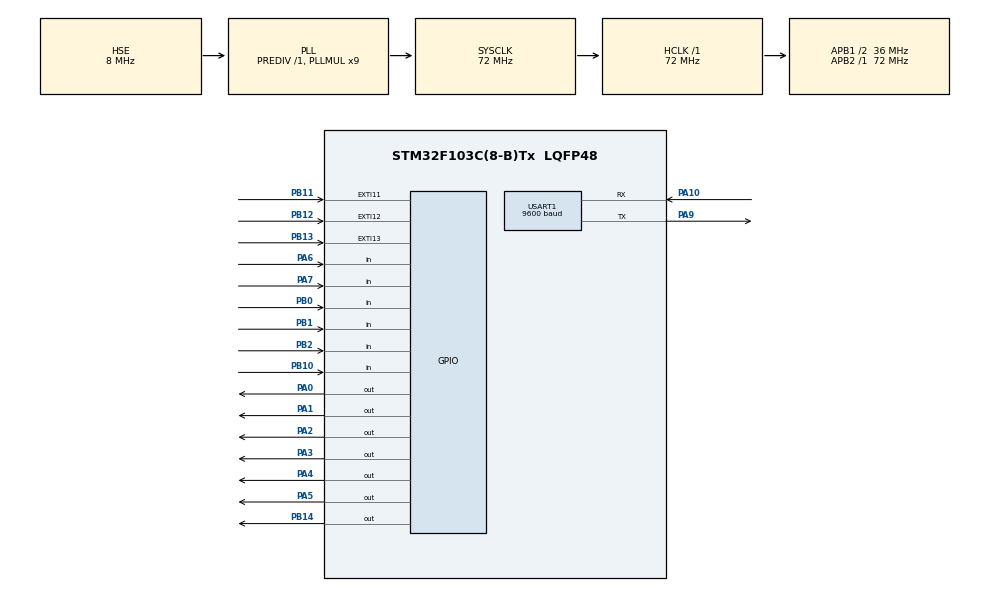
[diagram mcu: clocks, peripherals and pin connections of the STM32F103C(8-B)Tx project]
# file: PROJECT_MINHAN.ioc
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FREERTOS.Tasks01=startMainSystem,0,128,StartMainSystem,Default,NULL,Dynamic,NULL,NULL;startUART_RX,-2,128,StartUART_RX,Default,NULL,Dynamic,NULL,NULL;startUART_TX,-2,128,StartUART_TX,Default,NULL,Dynamic,NULL,NULL;startGRAB,-2,128,StartGRAB,Default,NULL,Dynamic,NULL,NULL
Mcu.Family=STM32F1
Mcu.Name=STM32F103C(8-B)Tx
Mcu.Package=LQFP48
NVIC.EXTI15_10_IRQn=true\:5\:0\:false\:false\:true\:false\:true\:true\:true
NVIC.PriorityGroup=NVIC_PRIORITYGROUP_4
NVIC.TIM1_BRK_IRQn=true\:5\:0\:false\:false\:true\:true\:true\:true\:true
NVIC.TIM2_IRQn=true\:5\:0\:false\:false\:true\:true\:true\:true\:true
NVIC.TIM3_IRQn=true\:5\:0\:false\:false\:true\:true\:true\:true\:true
NVIC.TIM4_IRQn=true\:5\:0\:false\:false\:true\:true\:true\:true\:true
NVIC.USART1_IRQn=true\:5\:0\:false\:false\:true\:true\:true\:true\:true
PA0-WKUP.Signal=GPIO_Output
PA1.Signal=GPIO_Output
PA10.Mode=Asynchronous
PA10.Signal=USART1_RX
PA13.Mode=Serial_Wire
PA13.Signal=SYS_JTMS-SWDIO
PA14.Mode=Serial_Wire
PA14.Signal=SYS_JTCK-SWCLK
PA2.Signal=GPIO_Output
PA3.Signal=GPIO_Output
PA4.Signal=GPIO_Output
PA5.Signal=GPIO_Output
PA6.GPIO_PuPd=GPIO_PULLUP
PA6.Signal=GPIO_Input
PA7.GPIO_PuPd=GPIO_PULLUP
PA7.Signal=GPIO_Input
PA9.Mode=Asynchronous
PA9.Signal=USART1_TX
PB0.GPIO_PuPd=GPIO_PULLUP
PB0.Signal=GPIO_Input
PB1.GPIO_PuPd=GPIO_PULLUP
PB1.Signal=GPIO_Input
PB10.GPIO_PuPd=GPIO_PULLUP
PB10.Signal=GPIO_Input
PB11.GPIO_ModeDefaultEXTI=GPIO_MODE_IT_RISING_FALLING
PB11.GPIO_PuPd=GPIO_PULLUP
PB11.Signal=GPXTI11
PB12.GPIO_ModeDefaultEXTI=GPIO_MODE_IT_RISING_FALLING
PB12.GPIO_PuPd=GPIO_PULLUP
PB12.Signal=GPXTI12
PB13.GPIO_ModeDefaultEXTI=GPIO_MODE_IT_RISING_FALLING
PB13.GPIO_PuPd=GPIO_PULLUP
PB13.Signal=GPXTI13
PB14.Signal=GPIO_Output
PB2.GPIO_PuPd=GPIO_PULLUP
PB2.Signal=GPIO_Input
PD0-OSC_IN.Mode=HSE-External-Oscillator
PD0-OSC_IN.Signal=RCC_OSC_IN
PD1-OSC_OUT.Mode=HSE-External-Oscillator
PD1-OSC_OUT.Signal=RCC_OSC_OUT
ProjectManager.HeapSize=0x200
ProjectManager.StackSize=0x400
ProjectManager.TargetToolchain=STM32CubeIDE
RCC.AHBFreq_Value=72000000
RCC.APB1CLKDivider=RCC_HCLK_DIV2
RCC.APB1Freq_Value=36000000
RCC.APB1TimFreq_Value=72000000
RCC.APB2Freq_Value=72000000
RCC.APB2TimFreq_Value=72000000
RCC.HCLKFreq_Value=72000000
RCC.PLLMUL=RCC_PLL_MUL9
RCC.PLLSourceVirtual=RCC_PLLSOURCE_HSE
RCC.SYSCLKFreq_VALUE=72000000
RCC.SYSCLKSource=RCC_SYSCLKSOURCE_PLLCLK
RCC.USBFreq_Value=72000000
TIM1.Period=999
TIM1.Prescaler=71
TIM2.AutoReloadPreload=TIM_AUTORELOAD_PRELOAD_ENABLE
TIM2.Period=999
TIM2.Prescaler=35
TIM3.AutoReloadPreload=TIM_AUTORELOAD_PRELOAD_ENABLE
TIM3.Period=999
TIM3.Prescaler=35
TIM4.AutoReloadPreload=TIM_AUTORELOAD_PRELOAD_ENABLE
TIM4.Period=999
TIM4.Prescaler=35
USART1.BaudRate=9600
USART1.VirtualMode=VM_ASYNC
VP_FREERTOS_VS_CMSIS_V1.Mode=CMSIS_V1
VP_TIM1_VS_ClockSourceINT.Mode=Internal
VP_TIM2_VS_ClockSourceINT.Mode=Internal
VP_TIM3_VS_ClockSourceINT.Mode=Internal
VP_TIM4_VS_ClockSourceINT.Mode=Internal
board=custom

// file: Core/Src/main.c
/* USER CODE BEGIN Header */
/**
  ******************************************************************************
  * @file           : main.c
  * @brief          : Main program body
  ******************************************************************************
  * @attention
  *
  * Copyright (c) 2024 STMicroelectronics.
  * All rights reserved.
  *
  * This software is licensed under terms that can be found in the LICENSE file
  * in the root directory of this software component.
  * If no LICENSE file comes with this software, it is provided AS-IS.
  *
  ******************************************************************************
  */
/* USER CODE END Header */
#include "main.h"
#include "cmsis_os.h"

void SystemClock_Config(void);
void MX_FREERTOS_Unit(void);

int main(void)
{

  /* MCU Configuration--------------------------------------------------------*/

  /* Reset of all peripherals, Initializes the Flash interface and the Systick. */
  HAL_Init();

  /* Configure the system clock */
  SystemClock_Config();

  /* Initialize all configured peripherals */
  MX_GPIO_Init();
  MX_TIM1_Init();
  MX_TIM2_Init();
  MX_TIM3_Init();
  MX_TIM4_Init();
  MX_USART1_UART_Init();
  /* USER CODE BEGIN 2 */
  MX_FREERTOS_Unit();
  /* USER CODE END 2 */

  /* Start scheduler */
  osKernelStart();

  /* We should never get here as control is now taken by the scheduler */

  /* Infinite loop */
  while (1)
  {

  }
}

void SystemClock_Config(void)
{
  RCC_OscInitTypeDef RCC_OscInitStruct = {0};
  RCC_ClkInitTypeDef RCC_ClkInitStruct = {0};

  /** Initializes the RCC Oscillators according to the specified parameters
  * in the RCC_OscInitTypeDef structure.
  */
  RCC_OscInitStruct.OscillatorType = RCC_OSCILLATORTYPE_HSE;
  RCC_OscInitStruct.HSEState = RCC_HSE_ON;
  RCC_OscInitStruct.HSEPredivValue = RCC_HSE_PREDIV_DIV1;
  RCC_OscInitStruct.HSIState = RCC_HSI_ON;
  RCC_OscInitStruct.PLL.PLLState = RCC_PLL_ON;
  RCC_OscInitStruct.PLL.PLLSource = RCC_PLLSOURCE_HSE;
  RCC_OscInitStruct.PLL.PLLMUL = RCC_PLL_MUL9;
  if (HAL_RCC_OscConfig(&RCC_OscInitStruct) != HAL_OK)
  {
    Error_Handler();
  }

  /** Initializes the CPU, AHB and APB buses clocks
  */
  RCC_ClkInitStruct.ClockType = RCC_CLOCKTYPE_HCLK|RCC_CLOCKTYPE_SYSCLK
                              |RCC_CLOCKTYPE_PCLK1|RCC_CLOCKTYPE_PCLK2;
  RCC_ClkInitStruct.SYSCLKSource = RCC_SYSCLKSOURCE_PLLCLK;
  RCC_ClkInitStruct.AHBCLKDivider = RCC_SYSCLK_DIV1;
  RCC_ClkInitStruct.APB1CLKDivider = RCC_HCLK_DIV2;
  RCC_ClkInitStruct.APB2CLKDivider = RCC_HCLK_DIV1;

  if (HAL_RCC_ClockConfig(&RCC_ClkInitStruct, FLASH_LATENCY_2) != HAL_OK)
  {
    Error_Handler();
  }
}

void Error_Handler(void)
{
  __disable_irq();
  while (1)
  {
  }
}

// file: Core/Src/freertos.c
/* USER CODE BEGIN Header */
/**
  ******************************************************************************
  * File Name          : freertos.c
  * Description        : Code for freertos applications
  ******************************************************************************
  * @attention
  *
  * Copyright (c) 2024 STMicroelectronics.
  * All rights reserved.
  *
  * This software is licensed under terms that can be found in the LICENSE file
  * in the root directory of this software component.
  * If no LICENSE file comes with this software, it is provided AS-IS.
  *
  ******************************************************************************
  */
/* USER CODE END Header */

#include "FreeRTOS.h"
#include "task.h"
#include "main.h"

/* USER CODE BEGIN Variables */
osThreadId startMainSystemHandle;
osThreadId startUART_RXHandle;
osThreadId startUART_TXHandle;
osThreadId startGRABHandle;
/* USER CODE END Variables */

/* USER CODE BEGIN FunctionPrototypes */
void StartMainSystem(void const * argument);
void StartUART_RX(void const * argument);
void StartUART_TX(void const * argument);
void StartGRAB(void const * argument);
/* USER CODE END FunctionPrototypes */

/* GetIdleTaskMemory prototype (linked to static allocation support) */
void vApplicationGetIdleTaskMemory( StaticTask_t **ppxIdleTaskTCBBuffer, StackType_t **ppxIdleTaskStackBuffer, uint32_t *pulIdleTaskStackSize );

/* USER CODE BEGIN GET_IDLE_TASK_MEMORY */
static StaticTask_t xIdleTaskTCBBuffer;
static StackType_t xIdleStack[configMINIMAL_STACK_SIZE];

void vApplicationGetIdleTaskMemory( StaticTask_t **ppxIdleTaskTCBBuffer, StackType_t **ppxIdleTaskStackBuffer, uint32_t *pulIdleTaskStackSize )
{
  *ppxIdleTaskTCBBuffer = &xIdleTaskTCBBuffer;
  *ppxIdleTaskStackBuffer = &xIdleStack[0];
  *pulIdleTaskStackSize = configMINIMAL_STACK_SIZE;
  /* place for user code */
}
/* USER CODE END GET_IDLE_TASK_MEMORY */

/* USER CODE BEGIN Variables */
#define max(a,b) (a > b) ? a : b;
#define min(a,b) (a > b) ? b : a;
/* USER CODE END Variables */
/* USER CODE BEGIN FunctionPrototypes */
/*----------------------------------*/
/* Config speed for stepper */
int max3(int a, int b, int c) {
	int n1 = max(a, b);
    return max(n1, c);
}
/* Function set home */
void DelayUs_step(uint32_t us)
{
	HAL_TIM_Base_Start_IT(&htim1);
	//(&htim7)->Instance->CNT = (0);
	__HAL_TIM_SET_COUNTER(&htim1, 0);
	while(__HAL_TIM_GET_COUNTER(&htim1) < us);
	HAL_TIM_Base_Stop_IT(&htim1);
}
void HOME(void)
{
    // Home Z axis
    HAL_GPIO_WritePin(dir_3_port, dir_3_pin, GPIO_PIN_RESET); // Set direction to move towards home
    while (HAL_GPIO_ReadPin(moveZsub_port, moveZsub_pin) != CNC_pos.Lsw6) {
        HAL_GPIO_TogglePin(step_3_port, step_3_pin); // Toggle step pin to move towards home
        DelayUs_step(30); // Adjust delay as needed
    }
    // Home X axis
    HAL_GPIO_WritePin(step_1_port, dir_1_pin, GPIO_PIN_RESET); // Set direction to move towards home
    bool isXHome = false;

    // Home Y axis
    HAL_GPIO_WritePin(dir_2_port, dir_2_pin, GPIO_PIN_RESET); // Set direction to move towards home
    bool isYHome = false;

    while (!(isXHome && isYHome)) {
        if (!isXHome && (HAL_GPIO_ReadPin(moveXsub_port, moveXsub_pin) != CNC_pos.Lsw2)) {
            HAL_GPIO_TogglePin(step_1_port, step_1_pin); // Toggle step pin to move towards home
        } else {
            isXHome = true;
        }

        if (!isYHome && (HAL_GPIO_ReadPin(moveYsub_port, moveYsub_pin) != CNC_pos.Lsw4)) {
            HAL_GPIO_TogglePin(step_2_port, step_2_pin); // Toggle step pin to move towards home
        } else {
            isYHome = true;
        }
        DelayUs_step(30); // Adjust delay as needed
    }
}

/* Function control 3 axis */
//Move X-Y
void MoveToPosXY(float x, float y) {
    trans_to_posXY(x,y);
    CNC_pos.MoveX = caculate_pos(CNC.set_posX, 161);
    CNC_pos.MoveY = caculate_pos(CNC.set_posY, 161);
    int step_max = max3(abs(CNC_pos.MoveX), abs(CNC_pos.MoveY), abs(CNC_pos.MoveZ));
    float coef1 = fabs(CNC_pos.MoveX) / step_max;
    float coef2 = fabs(CNC_pos.MoveY) / step_max;
    CNC_pos.pos1dot = CNC_pos.max_speedXY * coef1;
    CNC_pos.pos2dot = CNC_pos.max_speedXY * coef2;
    CNC_pos.accel1 = CNC_pos.a_maxX * coef1;
    CNC_pos.accel2 = CNC_pos.a_maxY * coef2;
    CNC_pos.jerk1 = CNC_pos.j_maxX * coef1;
    CNC_pos.jerk2 = CNC_pos.j_maxY * coef2;
    if (Stepper1.run_state != 1 && Stepper2.run_state != 1) {
        Accel_Stepper_Move(&Stepper1, CNC_pos.MoveX, CNC_pos.accel1, CNC_pos.jerk1, CNC_pos.pos1dot);
        Accel_Stepper_Move(&Stepper2, CNC_pos.MoveY, CNC_pos.accel2, CNC_pos.jerk2, CNC_pos.pos2dot);
        while (Stepper1.run_state != STOP || Stepper2.run_state != STOP) {
        	if(HAL_GPIO_ReadPin(moveXplus_port, moveXplus_pin) == CNC_pos.Lsw1 ||
        		HAL_GPIO_ReadPin(moveYplus_port, moveYplus_pin) == CNC_pos.Lsw3){
        		//handle_stop_button_press();
        	}
        	osDelay(1);
        }
        CNC.pos_x = x;
        CNC.pos_y = y;
    }
}
// Move Z
void MoveToPosZ(float z) {
    trans_to_posZ(z);
    CNC_pos.MoveZ = caculate_pos(CNC.set_posZ, 161);
    int step_max = max3(abs(CNC_pos.MoveX), abs(CNC_pos.MoveY), abs(CNC_pos.MoveZ));
    float coef3 = fabs(CNC_pos.MoveZ) / step_max;
    CNC_pos.pos3dot = CNC_pos.max_speedZ * coef3;
    CNC_pos.accel3 = CNC_pos.a_maxZ * coef3;
    CNC_pos.jerk3 = CNC_pos.j_maxZ * coef3;
    if (Stepper3.run_state != 1) {
        Accel_Stepper_Move(&Stepper3, CNC_pos.MoveZ, CNC_pos.accel3, CNC_pos.jerk3, CNC_pos.pos3dot);
        while(Stepper3.run_state != STOP){
        	if(HAL_GPIO_ReadPin(moveZplus_port, moveZplus_pin) ==  CNC_pos.Lsw5){
        		//handle_stop_button_press();
        	}
			osDelay(1);
		}
        CNC.pos_z = z;
    }
}

/* USER CODE BEGIN Application */
void MX_FREERTOS_Unit(void)
{
	/* USER CODE BEGIN RTOS_MUTEX */
	/* add mutexes, ... */
	/* USER CODE END RTOS_MUTEX */

	/* USER CODE BEGIN RTOS_SEMAPHORES */
	/* add semaphores, ... */
	/* USER CODE END RTOS_SEMAPHORES */

	/* USER CODE BEGIN RTOS_TIMERS */
	/* start timers, add new ones, ... */
	/* USER CODE END RTOS_TIMERS */

	/* USER CODE BEGIN RTOS_QUEUES */
	/* add queues, ... */
	/* USER CODE END RTOS_QUEUES */

	/* Create the thread(s) */
	/* definition and creation of startMainSystem */
	osThreadDef(startMainSystem, StartMainSystem, osPriorityNormal, 0, 128);
	startMainSystemHandle = osThreadCreate(osThread(startMainSystem), NULL);

	/* definition and creation of startUART_RX */
	osThreadDef(startUART_RX, StartUART_RX, osPriorityLow, 0, 128);
	startUART_RXHandle = osThreadCreate(osThread(startUART_RX), NULL);

	/* definition and creation of startUART_TX */
	osThreadDef(startUART_TX, StartUART_TX, osPriorityLow, 0, 128);
	startUART_TXHandle = osThreadCreate(osThread(startUART_TX), NULL);

	/* definition and creation of startGRAB */
	osThreadDef(startGRAB, StartGRAB, osPriorityLow, 0, 128);
	startGRABHandle = osThreadCreate(osThread(startGRAB), NULL);

	/* USER CODE BEGIN RTOS_THREADS */
	/* add threads, ... */
	/* USER CODE END RTOS_THREADS */
}

/* USER CODE BEGIN Header_StartMainSystem */
/**
  * @brief  Function implementing the startMainSystem thread.
  * @param  argument: Not used
  * @retval None
  */
/* USER CODE END Header_StartMainSystem */

void StartMainSystem(void const * argument)
{
  /* USER CODE BEGIN 5 */
  HOME();
  initializeCNC_pos(&CNC_pos);
  Accel_Stepper_SetPin(&Stepper1, step_1_port, step_1_pin, dir_1_port, dir_1_pin);
  Accel_Stepper_SetPin(&Stepper2, step_2_port, step_2_pin, dir_2_port, dir_2_pin);
  Accel_Stepper_SetPin(&Stepper3, step_3_port, step_3_pin, dir_3_port, dir_3_pin);

  Accel_Stepper_SetTimer(&Stepper1, &htim2);
  Accel_Stepper_SetTimer(&Stepper2, &htim3);
  Accel_Stepper_SetTimer(&Stepper3, &htim4);

  CNC.pos_x = 0;
  CNC.pos_y = 0;
  CNC.pos_z = 0;
  /* Infinite loop */
  for(;;)
  {
//	if (state.start_press) {
//	  HAL_GPIO_WritePin(drill_port, drill_pin, 1);
//	  move_to_coordinates();
//	}
	osDelay(1);
  }
  /* USER CODE END 5 */
}

/* USER CODE BEGIN Header_StartUART_RX */
/**
* @brief Function implementing the startUART_RX thread.
* @param argument: Not used
* @retval None
*/
/* USER CODE END Header_StartUART_RX */
void StartUART_RX(void const * argument)
{
  /* USER CODE BEGIN StartUART_RX */
  /* Infinite loop */
  for(;;)
  {
    osDelay(1);
  }
  /* USER CODE END StartUART_RX */
}

/* USER CODE BEGIN Header_StartUART_TX */
/**
* @brief Function implementing the startUART_TX thread.
* @param argument: Not used
* @retval None
*/
/* USER CODE END Header_StartUART_TX */
void StartUART_TX(void const * argument)
{
  /* USER CODE BEGIN StartUART_TX */
  /* Infinite loop */
  for(;;)
  {
    osDelay(1);
  }
  /* USER CODE END StartUART_TX */
}

/* USER CODE BEGIN Header_StartGRAB */
/**
* @brief Function implementing the startGRAB thread.
* @param argument: Not used
* @retval None
*/
/* USER CODE END Header_StartGRAB */
void StartGRAB(void const * argument)
{
  /* USER CODE BEGIN StartGRAB */
  /* Infinite loop */
  for(;;)
  {
    osDelay(1);
  }
  /* USER CODE END StartGRAB */
}
/* USER CODE END Application */
